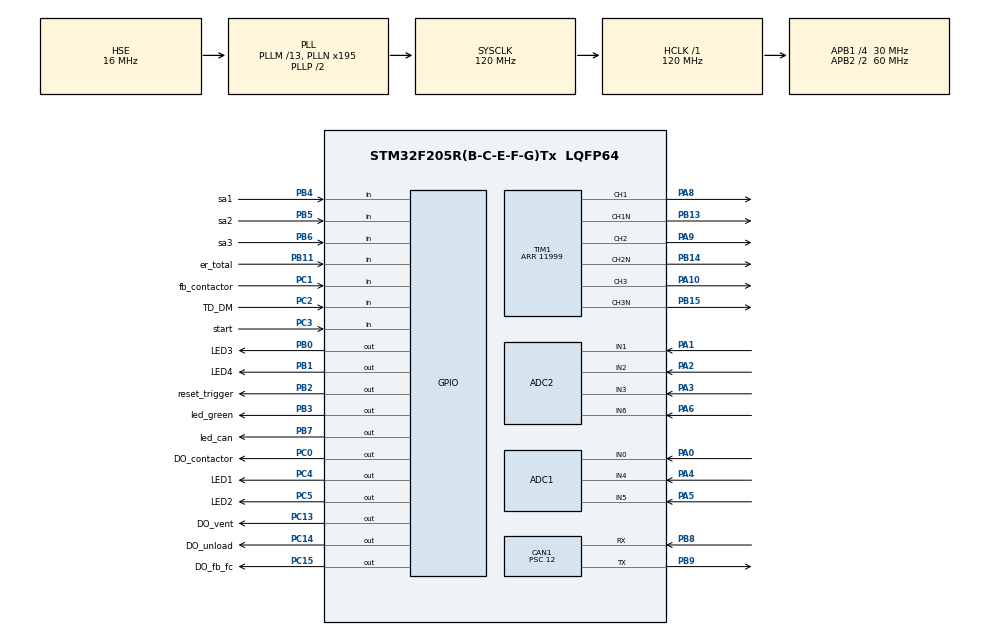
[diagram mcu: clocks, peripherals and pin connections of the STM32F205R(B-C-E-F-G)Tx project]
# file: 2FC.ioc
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ADC1.Channel-0\#ChannelRegularConversion=ADC_CHANNEL_0
ADC1.Channel-1\#ChannelRegularConversion=ADC_CHANNEL_4
ADC1.Channel-2\#ChannelRegularConversion=ADC_CHANNEL_5
ADC1.NbrOfConversion=3
ADC1.NbrOfConversionFlag=1
ADC1.Rank-0\#ChannelRegularConversion=1
ADC1.Rank-1\#ChannelRegularConversion=2
ADC1.Rank-2\#ChannelRegularConversion=3
ADC1.SamplingTime-0\#ChannelRegularConversion=ADC_SAMPLETIME_15CYCLES
ADC1.SamplingTime-1\#ChannelRegularConversion=ADC_SAMPLETIME_15CYCLES
ADC1.SamplingTime-2\#ChannelRegularConversion=ADC_SAMPLETIME_15CYCLES
ADC1.ScanConvMode=ENABLE
ADC1.master=1
ADC2.Channel-0\#ChannelRegularConversion=ADC_CHANNEL_1
ADC2.Channel-1\#ChannelInjectedConversion=ADC_CHANNEL_1
ADC2.Channel-2\#ChannelInjectedConversion=ADC_CHANNEL_2
ADC2.Channel-3\#ChannelInjectedConversion=ADC_CHANNEL_3
ADC2.Channel-4\#ChannelInjectedConversion=ADC_CHANNEL_6
ADC2.InjNumberOfConversion=4
ADC2.InjectedOffset-1\#ChannelInjectedConversion=0
ADC2.InjectedOffset-2\#ChannelInjectedConversion=0
ADC2.InjectedOffset-3\#ChannelInjectedConversion=0
ADC2.InjectedOffset-4\#ChannelInjectedConversion=0
ADC2.InjectedRank-1\#ChannelInjectedConversion=1
ADC2.InjectedRank-2\#ChannelInjectedConversion=2
ADC2.InjectedRank-3\#ChannelInjectedConversion=3
ADC2.InjectedRank-4\#ChannelInjectedConversion=4
ADC2.NbrOfConversion=1
ADC2.NbrOfConversionFlag=1
ADC2.Rank-0\#ChannelRegularConversion=1
ADC2.SamplingTime-0\#ChannelRegularConversion=ADC_SAMPLETIME_3CYCLES
ADC2.SamplingTime-1\#ChannelInjectedConversion=ADC_SAMPLETIME_112CYCLES
ADC2.SamplingTime-2\#ChannelInjectedConversion=ADC_SAMPLETIME_112CYCLES
ADC2.SamplingTime-3\#ChannelInjectedConversion=ADC_SAMPLETIME_112CYCLES
ADC2.SamplingTime-4\#ChannelInjectedConversion=ADC_SAMPLETIME_112CYCLES
ADC2.ScanConvMode=ENABLE
CAN1.BS1=CAN_BS1_4TQ
CAN1.BS2=CAN_BS2_5TQ
CAN1.CalculateBaudRate=250000
CAN1.CalculateTimeBit=4000.00
CAN1.CalculateTimeQuantum=400.0
CAN1.Prescaler=12
Dma.ADC1.0.Direction=DMA_PERIPH_TO_MEMORY
Dma.ADC1.0.FIFOMode=DMA_FIFOMODE_DISABLE
Dma.ADC1.0.Instance=DMA2_Stream0
Dma.ADC1.0.MemDataAlignment=DMA_MDATAALIGN_HALFWORD
Dma.ADC1.0.MemInc=DMA_MINC_ENABLE
Dma.ADC1.0.Mode=DMA_NORMAL
Dma.ADC1.0.PeriphDataAlignment=DMA_PDATAALIGN_HALFWORD
Dma.ADC1.0.PeriphInc=DMA_PINC_DISABLE
Dma.ADC1.0.Priority=DMA_PRIORITY_LOW
Dma.Request0=ADC1
Mcu.Family=STM32F2
Mcu.Name=STM32F205R(B-C-E-F-G)Tx
Mcu.Package=LQFP64
NVIC.ADC_IRQn=true\:0\:0\:false\:false\:true\:true\:true
NVIC.DMA2_Stream0_IRQn=true\:0\:0\:false\:false\:true\:false\:true
NVIC.PriorityGroup=NVIC_PRIORITYGROUP_4
NVIC.TIM3_IRQn=true\:0\:0\:false\:false\:true\:true\:true
PA0-WKUP.Signal=ADCx_IN0
PA1.Signal=ADCx_IN1
PA10.Signal=S_TIM1_CH3
PA13.Mode=Serial_Wire
PA13.Signal=SYS_JTMS-SWDIO
PA14.Mode=Serial_Wire
PA14.Signal=SYS_JTCK-SWCLK
PA2.Signal=ADCx_IN2
PA3.Signal=ADCx_IN3
PA4.Signal=ADCx_IN4
PA5.Signal=ADCx_IN5
PA6.Signal=ADCx_IN6
PA8.Signal=S_TIM1_CH1
PA9.Signal=S_TIM1_CH2
PB0.GPIO_Label=LED3
PB0.Signal=GPIO_Output
PB1.GPIO_Label=LED4
PB1.Signal=GPIO_Output
PB11.GPIO_Label=er_total
PB11.Signal=GPIO_Input
PB13.Mode=PWM Generation1 CH1 CH1N
PB13.Signal=TIM1_CH1N
PB14.Mode=PWM Generation2 CH2 CH2N
PB14.Signal=TIM1_CH2N
PB15.Mode=PWM Generation3 CH3 CH3N
PB15.Signal=TIM1_CH3N
PB2.GPIO_Label=reset_trigger
PB2.Signal=GPIO_Output
PB3.GPIO_Label=led_green
PB3.Signal=GPIO_Output
PB4.GPIO_Label=sa1
PB4.GPIO_PuPd=GPIO_PULLDOWN
PB4.Signal=GPIO_Input
PB5.GPIO_Label=sa2
PB5.GPIO_PuPd=GPIO_PULLDOWN
PB5.Signal=GPIO_Input
PB6.GPIO_Label=sa3
PB6.GPIO_PuPd=GPIO_PULLDOWN
PB6.Signal=GPIO_Input
PB7.GPIO_Label=led_can
PB7.Signal=GPIO_Output
PB8.Mode=CAN_Activate
PB8.Signal=CAN1_RX
PB9.Mode=CAN_Activate
PB9.Signal=CAN1_TX
PC0.GPIO_Label=DO_contactor
PC0.Signal=GPIO_Output
PC1.GPIO_Label=fb_contactor
PC1.Signal=GPIO_Input
PC13.GPIO_Label=DO_vent
PC13.Signal=GPIO_Output
PC14-OSC32_IN.GPIO_Label=DO_unload
PC14-OSC32_IN.Signal=GPIO_Output
PC15-OSC32_OUT.GPIO_Label=DO_fb_fc
PC15-OSC32_OUT.Signal=GPIO_Output
PC2.GPIO_Label=TD_DM
PC2.Signal=GPIO_Input
PC3.GPIO_Label=start
PC3.Signal=GPIO_Input
PC4.GPIO_Label=LED1
PC4.Signal=GPIO_Output
PC5.GPIO_Label=LED2
PC5.Signal=GPIO_Output
PH0-OSC_IN.Mode=HSE-External-Oscillator
PH0-OSC_IN.Signal=RCC_OSC_IN
PH1-OSC_OUT.Mode=HSE-External-Oscillator
PH1-OSC_OUT.Signal=RCC_OSC_OUT
ProjectManager.HeapSize=0x200
ProjectManager.StackSize=0x400
ProjectManager.TargetToolchain=STM32CubeIDE
RCC.48MHZClocksFreq_Value=60000000
RCC.AHBFreq_Value=120000000
RCC.APB1CLKDivider=RCC_HCLK_DIV4
RCC.APB1Freq_Value=30000000
RCC.APB1TimFreq_Value=60000000
RCC.APB2CLKDivider=RCC_HCLK_DIV2
RCC.APB2Freq_Value=60000000
RCC.APB2TimFreq_Value=120000000
RCC.CortexFreq_Value=120000000
RCC.HCLKFreq_Value=120000000
RCC.HSE_VALUE=16000000
RCC.HSI_VALUE=16000000
RCC.LSE_VALUE=32768
RCC.PLLM=13
RCC.PLLN=195
RCC.PLLSourceVirtual=RCC_PLLSOURCE_HSE
RCC.SYSCLKFreq_VALUE=120000000
RCC.SYSCLKSource=RCC_SYSCLKSOURCE_PLLCLK
RCC.VCOOutputFreq_Value=240000000
SH.ADCx_IN0.0=ADC1_IN0,IN0
SH.ADCx_IN1.0=ADC2_IN1,IN1
SH.ADCx_IN2.0=ADC2_IN2,IN2
SH.ADCx_IN3.0=ADC2_IN3,IN3
SH.ADCx_IN4.0=ADC1_IN4,IN4
SH.ADCx_IN5.0=ADC2_IN5
SH.ADCx_IN5.1=ADC1_IN5,IN5
SH.ADCx_IN6.0=ADC1_IN6
SH.ADCx_IN6.1=ADC2_IN6,IN6
SH.S_TIM1_CH1.0=TIM1_CH1,PWM Generation1 CH1 CH1N
SH.S_TIM1_CH2.0=TIM1_CH2,PWM Generation2 CH2 CH2N
SH.S_TIM1_CH3.0=TIM1_CH3,PWM Generation3 CH3 CH3N
TIM1.Channel-PWM\ Generation1\ CH1\ CH1N=TIM_CHANNEL_1
TIM1.Channel-PWM\ Generation2\ CH2\ CH2N=TIM_CHANNEL_2
TIM1.Channel-PWM\ Generation3\ CH3\ CH3N=TIM_CHANNEL_3
TIM1.CounterMode=TIM_COUNTERMODE_CENTERALIGNED1
TIM1.DeadTime=158
TIM1.Period=11999
TIM3.AutoReloadPreload=TIM_AUTORELOAD_PRELOAD_ENABLE
TIM3.Channel-Output\ Compare1\ No\ Output=TIM_CHANNEL_1
TIM3.Period=49999
TIM3.Prescaler=9
VP_TIM3_VS_ClockSourceINT.Mode=Internal
VP_TIM3_VS_no_output1.Mode=Output Compare1 No Output
board=custom

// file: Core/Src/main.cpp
/* USER CODE BEGIN Header */
/**
  ******************************************************************************
  * @file           : main.c
  * @brief          : Main program body
  ******************************************************************************
  * @attention
  *
  * <h2><center>&copy; Copyright (c) 2024 STMicroelectronics.
  * All rights reserved.</center></h2>
  *
  * This software component is licensed by ST under BSD 3-Clause license,
  * the "License"; You may not use this file except in compliance with the
  * License. You may obtain a copy of the License at:
  *                        opensource.org/licenses/BSD-3-Clause
  *
  ******************************************************************************
  */
/* USER CODE END Header */
#include "main.h"

/* USER CODE BEGIN Includes */
#include "timers.h"
/* USER CODE END Includes */

ADC_HandleTypeDef hadc1;
ADC_HandleTypeDef hadc2;
DMA_HandleTypeDef hdma_adc1;

CAN_HandleTypeDef hcan1;

TIM_HandleTypeDef htim1;
TIM_HandleTypeDef htim3;

void SystemClock_Config(void);
static void MX_GPIO_Init(void);
static void MX_DMA_Init(void);
static void MX_ADC1_Init(void);
static void MX_ADC2_Init(void);
static void MX_TIM1_Init(void);
static void MX_TIM3_Init(void);
static void MX_CAN1_Init(void);

/* USER CODE BEGIN 0 */

#include "convertor.h"

/* USER CODE END 0 */

int main(void)
{

  /* MCU Configuration--------------------------------------------------------*/

  /* Reset of all peripherals, Initializes the Flash interface and the Systick. */
  HAL_Init();

  /* Configure the system clock */
  SystemClock_Config();

  /* Initialize all configured peripherals */
  MX_GPIO_Init();
  MX_DMA_Init();
  MX_ADC1_Init();
  MX_ADC2_Init();
  MX_TIM1_Init();
  MX_TIM3_Init();
  MX_CAN1_Init();
  /* USER CODE BEGIN 2 */
  	decltype(auto) led_1 = Pin { GPIOC, LED1_Pin };
  	decltype(auto) led_2 = Pin { GPIOC, LED2_Pin };
  	decltype(auto) led_3 = Pin { GPIOB, LED3_Pin };
  	decltype(auto) led_4 = Pin { GPIOB, LED4_Pin };
	decltype(auto) led_red = Pin { GPIOB, led_green_Pin };
	decltype(auto) led_can = Pin { GPIOB, led_can_Pin };
	decltype(auto) ventilator = Pin { GPIOC, DO_vent_Pin };
	decltype(auto) unload = Pin { GPIOC, DO_unload_Pin };
	decltype(auto) TD_DM = Pin { GPIOC, TD_DM_Pin };
	decltype(auto) Start = Pin { GPIOC, start_Pin };
	decltype(auto) Asin_drive = Pin { GPIOB, sa1_Pin };
	decltype(auto) Sin_drive = Pin { GPIOB, sa2_Pin };
	decltype(auto) Conditioner = Pin { GPIOB, sa3_Pin };
	decltype(auto) state = Pin { GPIOC, DO_fb_fc_Pin };
	decltype(auto) on_off_contactor = Pin { GPIOC, DO_contactor_Pin };
	decltype(auto) fb_contactor = Pin { GPIOC, fb_contactor_Pin };
	decltype(auto) reset_error = Pin { GPIOB, reset_trigger_Pin };
	decltype(auto) er_total = Pin {GPIOB, er_total_Pin};

	decltype(auto) adc = ADC_ { adc_callback, adc_injected_callback, 3, 10 };

//	decltype(auto) uart = UART_<> { led_can };
	decltype(auto) can = CAN<In_id, Out_id>{led_can, interrupt_can_rx, 125};

	decltype(auto) ntc = NTC { };
	decltype(auto) service = Service{adc, ntc};
	decltype(auto) error = Error_led{led_1, led_2, led_3, led_4};
	decltype(auto) contactor = Contactor { on_off_contactor, fb_contactor };

	decltype(auto) convertor = Convertor{adc, can, service, error, contactor, period_callback, led_red, ventilator, unload, TD_DM, Start, Asin_drive, Sin_drive, Conditioner, state, reset_error, er_total};
	convertor.init();
  /* USER CODE END 2 */

  /* Infinite loop */
  /* USER CODE BEGIN WHILE */

//	Timer timer{500};
//	uint8_t i{0};
  while (1)
  {
	  convertor();
//	  if(timer.event()) {
//		  if (i > 15) i = 0;
//		  error.set(i++);
//	  }
//	  reset_error ^= timer.event();
    /* USER CODE END WHILE */

  }
}

void SystemClock_Config(void)
{
  RCC_OscInitTypeDef RCC_OscInitStruct = {0};
  RCC_ClkInitTypeDef RCC_ClkInitStruct = {0};

  /** Initializes the RCC Oscillators according to the specified parameters
  * in the RCC_OscInitTypeDef structure.
  */
  RCC_OscInitStruct.OscillatorType = RCC_OSCILLATORTYPE_HSE;
  RCC_OscInitStruct.HSEState = RCC_HSE_ON;
  RCC_OscInitStruct.PLL.PLLState = RCC_PLL_ON;
  RCC_OscInitStruct.PLL.PLLSource = RCC_PLLSOURCE_HSE;
  RCC_OscInitStruct.PLL.PLLM = 13;
  RCC_OscInitStruct.PLL.PLLN = 195;
  RCC_OscInitStruct.PLL.PLLP = RCC_PLLP_DIV2;
  RCC_OscInitStruct.PLL.PLLQ = 4;
  if (HAL_RCC_OscConfig(&RCC_OscInitStruct) != HAL_OK)
  {
    Error_Handler();
  }
  /** Initializes the CPU, AHB and APB buses clocks
  */
  RCC_ClkInitStruct.ClockType = RCC_CLOCKTYPE_HCLK|RCC_CLOCKTYPE_SYSCLK
                              |RCC_CLOCKTYPE_PCLK1|RCC_CLOCKTYPE_PCLK2;
  RCC_ClkInitStruct.SYSCLKSource = RCC_SYSCLKSOURCE_PLLCLK;
  RCC_ClkInitStruct.AHBCLKDivider = RCC_SYSCLK_DIV1;
  RCC_ClkInitStruct.APB1CLKDivider = RCC_HCLK_DIV4;
  RCC_ClkInitStruct.APB2CLKDivider = RCC_HCLK_DIV2;

  if (HAL_RCC_ClockConfig(&RCC_ClkInitStruct, FLASH_LATENCY_3) != HAL_OK)
  {
    Error_Handler();
  }
}

static void MX_ADC1_Init(void)
{

  ADC_ChannelConfTypeDef sConfig = {0};

  /** Configure the global features of the ADC (Clock, Resolution, Data Alignment and number of conversion)
  */
  hadc1.Instance = ADC1;
  hadc1.Init.ClockPrescaler = ADC_CLOCK_SYNC_PCLK_DIV2;
  hadc1.Init.Resolution = ADC_RESOLUTION_12B;
  hadc1.Init.ScanConvMode = ENABLE;
  hadc1.Init.ContinuousConvMode = DISABLE;
  hadc1.Init.DiscontinuousConvMode = DISABLE;
  hadc1.Init.ExternalTrigConvEdge = ADC_EXTERNALTRIGCONVEDGE_NONE;
  hadc1.Init.ExternalTrigConv = ADC_SOFTWARE_START;
  hadc1.Init.DataAlign = ADC_DATAALIGN_RIGHT;
  hadc1.Init.NbrOfConversion = 3;
  hadc1.Init.DMAContinuousRequests = DISABLE;
  hadc1.Init.EOCSelection = ADC_EOC_SINGLE_CONV;
  if (HAL_ADC_Init(&hadc1) != HAL_OK)
  {
    Error_Handler();
  }
  /** Configure for the selected ADC regular channel its corresponding rank in the sequencer and its sample time.
  */
  sConfig.Channel = ADC_CHANNEL_0;
  sConfig.Rank = 1;
  sConfig.SamplingTime = ADC_SAMPLETIME_15CYCLES;
  if (HAL_ADC_ConfigChannel(&hadc1, &sConfig) != HAL_OK)
  {
    Error_Handler();
  }
  /** Configure for the selected ADC regular channel its corresponding rank in the sequencer and its sample time.
  */
  sConfig.Channel = ADC_CHANNEL_4;
  sConfig.Rank = 2;
  sConfig.SamplingTime = ADC_SAMPLETIME_15CYCLES;
  if (HAL_ADC_ConfigChannel(&hadc1, &sConfig) != HAL_OK)
  {
    Error_Handler();
  }
  /** Configure for the selected ADC regular channel its corresponding rank in the sequencer and its sample time.
  */
  sConfig.Channel = ADC_CHANNEL_5;
  sConfig.Rank = 3;
  sConfig.SamplingTime = ADC_SAMPLETIME_15CYCLES;
  if (HAL_ADC_ConfigChannel(&hadc1, &sConfig) != HAL_OK)
  {
    Error_Handler();
  }

}

static void MX_ADC2_Init(void)
{

  ADC_ChannelConfTypeDef sConfig = {0};
  ADC_InjectionConfTypeDef sConfigInjected = {0};

  /** Configure the global features of the ADC (Clock, Resolution, Data Alignment and number of conversion)
  */
  hadc2.Instance = ADC2;
  hadc2.Init.ClockPrescaler = ADC_CLOCK_SYNC_PCLK_DIV2;
  hadc2.Init.Resolution = ADC_RESOLUTION_12B;
  hadc2.Init.ScanConvMode = ENABLE;
  hadc2.Init.ContinuousConvMode = DISABLE;
  hadc2.Init.DiscontinuousConvMode = DISABLE;
  hadc2.Init.ExternalTrigConvEdge = ADC_EXTERNALTRIGCONVEDGE_NONE;
  hadc2.Init.ExternalTrigConv = ADC_SOFTWARE_START;
  hadc2.Init.DataAlign = ADC_DATAALIGN_RIGHT;
  hadc2.Init.NbrOfConversion = 1;
  hadc2.Init.DMAContinuousRequests = DISABLE;
  hadc2.Init.EOCSelection = ADC_EOC_SINGLE_CONV;
  if (HAL_ADC_Init(&hadc2) != HAL_OK)
  {
    Error_Handler();
  }
  /** Configure for the selected ADC regular channel its corresponding rank in the sequencer and its sample time.
  */
  sConfig.Channel = ADC_CHANNEL_1;
  sConfig.Rank = 1;
  sConfig.SamplingTime = ADC_SAMPLETIME_3CYCLES;
  if (HAL_ADC_ConfigChannel(&hadc2, &sConfig) != HAL_OK)
  {
    Error_Handler();
  }
  /** Configures for the selected ADC injected channel its corresponding rank in the sequencer and its sample time
  */
  sConfigInjected.InjectedChannel = ADC_CHANNEL_1;
  sConfigInjected.InjectedRank = 1;
  sConfigInjected.InjectedNbrOfConversion = 4;
  sConfigInjected.InjectedSamplingTime = ADC_SAMPLETIME_112CYCLES;
  sConfigInjected.ExternalTrigInjecConvEdge = ADC_EXTERNALTRIGINJECCONVEDGE_NONE;
  sConfigInjected.ExternalTrigInjecConv = ADC_INJECTED_SOFTWARE_START;
  sConfigInjected.AutoInjectedConv = DISABLE;
  sConfigInjected.InjectedDiscontinuousConvMode = DISABLE;
  sConfigInjected.InjectedOffset = 0;
  if (HAL_ADCEx_InjectedConfigChannel(&hadc2, &sConfigInjected) != HAL_OK)
  {
    Error_Handler();
  }
  /** Configures for the selected ADC injected channel its corresponding rank in the sequencer and its sample time
  */
  sConfigInjected.InjectedChannel = ADC_CHANNEL_2;
  sConfigInjected.InjectedRank = 2;
  if (HAL_ADCEx_InjectedConfigChannel(&hadc2, &sConfigInjected) != HAL_OK)
  {
    Error_Handler();
  }
  /** Configures for the selected ADC injected channel its corresponding rank in the sequencer and its sample time
  */
  sConfigInjected.InjectedChannel = ADC_CHANNEL_3;
  sConfigInjected.InjectedRank = 3;
  if (HAL_ADCEx_InjectedConfigChannel(&hadc2, &sConfigInjected) != HAL_OK)
  {
    Error_Handler();
  }
  /** Configures for the selected ADC injected channel its corresponding rank in the sequencer and its sample time
  */
  sConfigInjected.InjectedChannel = ADC_CHANNEL_6;
  sConfigInjected.InjectedRank = 4;
  if (HAL_ADCEx_InjectedConfigChannel(&hadc2, &sConfigInjected) != HAL_OK)
  {
    Error_Handler();
  }

}

static void MX_CAN1_Init(void)
{

  hcan1.Instance = CAN1;
  hcan1.Init.Prescaler = 12;
  hcan1.Init.Mode = CAN_MODE_NORMAL;
  hcan1.Init.SyncJumpWidth = CAN_SJW_1TQ;
  hcan1.Init.TimeSeg1 = CAN_BS1_4TQ;
  hcan1.Init.TimeSeg2 = CAN_BS2_5TQ;
  hcan1.Init.TimeTriggeredMode = DISABLE;
  hcan1.Init.AutoBusOff = DISABLE;
  hcan1.Init.AutoWakeUp = DISABLE;
  hcan1.Init.AutoRetransmission = DISABLE;
  hcan1.Init.ReceiveFifoLocked = DISABLE;
  hcan1.Init.TransmitFifoPriority = DISABLE;
  if (HAL_CAN_Init(&hcan1) != HAL_OK)
  {
    Error_Handler();
  }
  /* USER CODE BEGIN CAN1_Init 2 */
  CAN_FilterTypeDef canfilterconfig;

      	canfilterconfig.FilterActivation = CAN_FILTER_ENABLE;
      	canfilterconfig.FilterBank = 0;
      	canfilterconfig.FilterFIFOAssignment = CAN_FILTER_FIFO0;
      	canfilterconfig.FilterIdHigh = 0;
      	canfilterconfig.FilterIdLow = 0;
      	canfilterconfig.FilterMaskIdHigh = 0;
      	canfilterconfig.FilterMaskIdLow = 0;
      	canfilterconfig.FilterMode = CAN_FILTERMODE_IDMASK;
      	canfilterconfig.FilterScale = CAN_FILTERSCALE_32BIT;
      	canfilterconfig.SlaveStartFilterBank = 14; // how many filters to assign to the CAN1 (master can)

      	HAL_CAN_ConfigFilter(&hcan1, &canfilterconfig);

      	HAL_CAN_Start(&hcan1);
      	HAL_CAN_ActivateNotification(&hcan1, CAN_IT_RX_FIFO0_MSG_PENDING);

  /* USER CODE END CAN1_Init 2 */

}

static void MX_TIM1_Init(void)
{

  TIM_MasterConfigTypeDef sMasterConfig = {0};
  TIM_OC_InitTypeDef sConfigOC = {0};
  TIM_BreakDeadTimeConfigTypeDef sBreakDeadTimeConfig = {0};

  htim1.Instance = TIM1;
  htim1.Init.Prescaler = 0;
  htim1.Init.CounterMode = TIM_COUNTERMODE_CENTERALIGNED1;
  htim1.Init.Period = 11999;
  htim1.Init.ClockDivision = TIM_CLOCKDIVISION_DIV1;
  htim1.Init.RepetitionCounter = 0;
  htim1.Init.AutoReloadPreload = TIM_AUTORELOAD_PRELOAD_DISABLE;
  if (HAL_TIM_PWM_Init(&htim1) != HAL_OK)
  {
    Error_Handler();
  }
  sMasterConfig.MasterOutputTrigger = TIM_TRGO_RESET;
  sMasterConfig.MasterSlaveMode = TIM_MASTERSLAVEMODE_DISABLE;
  if (HAL_TIMEx_MasterConfigSynchronization(&htim1, &sMasterConfig) != HAL_OK)
  {
    Error_Handler();
  }
  sConfigOC.OCMode = TIM_OCMODE_PWM1;
  sConfigOC.Pulse = 0;
  sConfigOC.OCPolarity = TIM_OCPOLARITY_HIGH;
  sConfigOC.OCNPolarity = TIM_OCNPOLARITY_HIGH;
  sConfigOC.OCFastMode = TIM_OCFAST_DISABLE;
  sConfigOC.OCIdleState = TIM_OCIDLESTATE_RESET;
  sConfigOC.OCNIdleState = TIM_OCNIDLESTATE_RESET;
  if (HAL_TIM_PWM_ConfigChannel(&htim1, &sConfigOC, TIM_CHANNEL_1) != HAL_OK)
  {
    Error_Handler();
  }
  if (HAL_TIM_PWM_ConfigChannel(&htim1, &sConfigOC, TIM_CHANNEL_2) != HAL_OK)
  {
    Error_Handler();
  }
  if (HAL_TIM_PWM_ConfigChannel(&htim1, &sConfigOC, TIM_CHANNEL_3) != HAL_OK)
  {
    Error_Handler();
  }
  sBreakDeadTimeConfig.OffStateRunMode = TIM_OSSR_DISABLE;
  sBreakDeadTimeConfig.OffStateIDLEMode = TIM_OSSI_DISABLE;
  sBreakDeadTimeConfig.LockLevel = TIM_LOCKLEVEL_OFF;
  sBreakDeadTimeConfig.DeadTime = 158;
  sBreakDeadTimeConfig.BreakState = TIM_BREAK_DISABLE;
  sBreakDeadTimeConfig.BreakPolarity = TIM_BREAKPOLARITY_HIGH;
  sBreakDeadTimeConfig.AutomaticOutput = TIM_AUTOMATICOUTPUT_DISABLE;
  if (HAL_TIMEx_ConfigBreakDeadTime(&htim1, &sBreakDeadTimeConfig) != HAL_OK)
  {
    Error_Handler();
  }
  HAL_TIM_MspPostInit(&htim1);

}

static void MX_TIM3_Init(void)
{

  TIM_ClockConfigTypeDef sClockSourceConfig = {0};
  TIM_MasterConfigTypeDef sMasterConfig = {0};
  TIM_OC_InitTypeDef sConfigOC = {0};

  htim3.Instance = TIM3;
  htim3.Init.Prescaler = 9;
  htim3.Init.CounterMode = TIM_COUNTERMODE_UP;
  htim3.Init.Period = 49999;
  htim3.Init.ClockDivision = TIM_CLOCKDIVISION_DIV1;
  htim3.Init.AutoReloadPreload = TIM_AUTORELOAD_PRELOAD_ENABLE;
  if (HAL_TIM_Base_Init(&htim3) != HAL_OK)
  {
    Error_Handler();
  }
  sClockSourceConfig.ClockSource = TIM_CLOCKSOURCE_INTERNAL;
  if (HAL_TIM_ConfigClockSource(&htim3, &sClockSourceConfig) != HAL_OK)
  {
    Error_Handler();
  }
  if (HAL_TIM_OC_Init(&htim3) != HAL_OK)
  {
    Error_Handler();
  }
  sMasterConfig.MasterOutputTrigger = TIM_TRGO_RESET;
  sMasterConfig.MasterSlaveMode = TIM_MASTERSLAVEMODE_DISABLE;
  if (HAL_TIMEx_MasterConfigSynchronization(&htim3, &sMasterConfig) != HAL_OK)
  {
    Error_Handler();
  }
  sConfigOC.OCMode = TIM_OCMODE_TIMING;
  sConfigOC.Pulse = 0;
  sConfigOC.OCPolarity = TIM_OCPOLARITY_HIGH;
  sConfigOC.OCFastMode = TIM_OCFAST_DISABLE;
  if (HAL_TIM_OC_ConfigChannel(&htim3, &sConfigOC, TIM_CHANNEL_1) != HAL_OK)
  {
    Error_Handler();
  }

}

static void MX_DMA_Init(void)
{

  /* DMA controller clock enable */
  __HAL_RCC_DMA2_CLK_ENABLE();

  /* DMA interrupt init */
  /* DMA2_Stream0_IRQn interrupt configuration */
  HAL_NVIC_SetPriority(DMA2_Stream0_IRQn, 0, 0);
  HAL_NVIC_EnableIRQ(DMA2_Stream0_IRQn);

}

static void MX_GPIO_Init(void)
{
  GPIO_InitTypeDef GPIO_InitStruct = {0};

  /* GPIO Ports Clock Enable */
  __HAL_RCC_GPIOC_CLK_ENABLE();
  __HAL_RCC_GPIOH_CLK_ENABLE();
  __HAL_RCC_GPIOA_CLK_ENABLE();
  __HAL_RCC_GPIOB_CLK_ENABLE();

  /*Configure GPIO pin Output Level */
  HAL_GPIO_WritePin(GPIOC, DO_vent_Pin|DO_unload_Pin|DO_fb_fc_Pin|DO_contactor_Pin
                          |LED1_Pin|LED2_Pin, GPIO_PIN_RESET);

  /*Configure GPIO pin Output Level */
  HAL_GPIO_WritePin(GPIOB, LED3_Pin|LED4_Pin|reset_trigger_Pin|led_green_Pin
                          |led_can_Pin, GPIO_PIN_RESET);

  /*Configure GPIO pins : DO_vent_Pin DO_unload_Pin DO_fb_fc_Pin DO_contactor_Pin
                           LED1_Pin LED2_Pin */
  GPIO_InitStruct.Pin = DO_vent_Pin|DO_unload_Pin|DO_fb_fc_Pin|DO_contactor_Pin
                          |LED1_Pin|LED2_Pin;
  GPIO_InitStruct.Mode = GPIO_MODE_OUTPUT_PP;
  GPIO_InitStruct.Pull = GPIO_NOPULL;
  GPIO_InitStruct.Speed = GPIO_SPEED_FREQ_LOW;
  HAL_GPIO_Init(GPIOC, &GPIO_InitStruct);

  /*Configure GPIO pins : fb_contactor_Pin TD_DM_Pin start_Pin */
  GPIO_InitStruct.Pin = fb_contactor_Pin|TD_DM_Pin|start_Pin;
  GPIO_InitStruct.Mode = GPIO_MODE_INPUT;
  GPIO_InitStruct.Pull = GPIO_NOPULL;
  HAL_GPIO_Init(GPIOC, &GPIO_InitStruct);

  /*Configure GPIO pins : LED3_Pin LED4_Pin reset_trigger_Pin led_green_Pin
                           led_can_Pin */
  GPIO_InitStruct.Pin = LED3_Pin|LED4_Pin|reset_trigger_Pin|led_green_Pin
                          |led_can_Pin;
  GPIO_InitStruct.Mode = GPIO_MODE_OUTPUT_PP;
  GPIO_InitStruct.Pull = GPIO_NOPULL;
  GPIO_InitStruct.Speed = GPIO_SPEED_FREQ_LOW;
  HAL_GPIO_Init(GPIOB, &GPIO_InitStruct);

  /*Configure GPIO pin : er_total_Pin */
  GPIO_InitStruct.Pin = er_total_Pin;
  GPIO_InitStruct.Mode = GPIO_MODE_INPUT;
  GPIO_InitStruct.Pull = GPIO_NOPULL;
  HAL_GPIO_Init(er_total_GPIO_Port, &GPIO_InitStruct);

  /*Configure GPIO pins : sa1_Pin sa2_Pin sa3_Pin */
  GPIO_InitStruct.Pin = sa1_Pin|sa2_Pin|sa3_Pin;
  GPIO_InitStruct.Mode = GPIO_MODE_INPUT;
  GPIO_InitStruct.Pull = GPIO_PULLDOWN;
  HAL_GPIO_Init(GPIOB, &GPIO_InitStruct);

}

void Error_Handler(void)
{
  __disable_irq();
  while (1)
  {
  }
}

/************************ (C) COPYRIGHT STMicroelectronics *****END OF FILE****/
